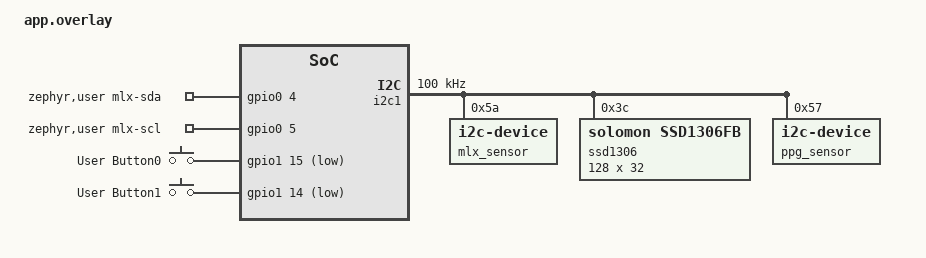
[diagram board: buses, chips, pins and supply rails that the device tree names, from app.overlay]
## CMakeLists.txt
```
cmake_minimum_required(VERSION 3.20.0)
find_package(Zephyr REQUIRED HINTS $ENV{ZEPHYR_BASE})

project(BodyTempSensorVer2)

file(GLOB_RECURSE APP_SOURCES src/*.c)

target_sources(app PRIVATE ${APP_SOURCES})

# drivers 以下のサブディレクトリを自動でインクルードパスに追加する
file(GLOB_RECURSE driver_headers "src/drivers/*.h")
foreach(header_file ${driver_headers})
    get_filename_component(header_dir ${header_file} DIRECTORY)
    target_include_directories(app PRIVATE ${header_dir})
endforeach()

# utils 以下のサブディレクトリを自動でインクルードパスに追加する
file(GLOB_RECURSE utils_headers "src/utils/*.h")
foreach(header_file ${utils_headers})
    get_filename_component(header_dir ${header_file} DIRECTORY)
    target_include_directories(app PRIVATE ${header_dir})
endforeach()

# handlers 以下のサブディレクトリを自動でインクルードパスに追加する
file(GLOB_RECURSE utils_headers "src/handlers/*.h")
foreach(header_file ${utils_headers})
    get_filename_component(header_dir ${header_file} DIRECTORY)
    target_include_directories(app PRIVATE ${header_dir})
endforeach()
```

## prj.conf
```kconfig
# パワーマネジメントを有効化
CONFIG_PM_DEVICE=y
CONFIG_POWEROFF=y
CONFIG_REBOOT=y

# I2C and GPIO
CONFIG_FLASH=y
CONFIG_I2C=y
CONFIG_GPIO=y
CONFIG_CRC=y

# QSPI設定
CONFIG_NORDIC_QSPI_NOR=y
CONFIG_NORDIC_QSPI_NOR_FLASH_LAYOUT_PAGE_SIZE=4096

# ディスプレイ関連
CONFIG_DISPLAY=y
CONFIG_SSD1306=y
CONFIG_CHARACTER_FRAMEBUFFER=y

# Sensor
CONFIG_SENSOR=y
CONFIG_LSM6DSL=y
CONFIG_REGULATOR=y
CONFIG_REGULATOR_FIXED=y
CONFIG_LSM6DSL_TRIGGER_GLOBAL_THREAD=y
CONFIG_LSM6DSL_ACCEL_ODR=1
CONFIG_LSM6DSL_GYRO_ODR=1

# Bluetooth設定
CONFIG_BT=y
CONFIG_BT_PERIPHERAL=y
CONFIG_BT_DEVICE_NAME="Hama_nRF52840_BLE"
# ペアリング情報（ボンディング）をFlashに保存するための設定
CONFIG_BT_SETTINGS=y
CONFIG_SETTINGS=y
CONFIG_FLASH=y
CONFIG_FLASH_MAP=y
CONFIG_NVS=y
# 固定パスキー機能を有効化
CONFIG_BT_FIXED_PASSKEY=y
CONFIG_BT_SMP=y
# CONFIG_BT_EXT_ADV_MAX_ADV_SET=2

# カスタムサービス用
CONFIG_SYSTEM_WORKQUEUE_STACK_SIZE=2048

# 1. ヒープメモリを確保（CFBがk_mallocを使えるようにする）
CONFIG_HEAP_MEM_POOL_SIZE=16384

CONFIG_BT_GAP_PERIPHERAL_PREF_PARAMS=y
CONFIG_BT_PERIPHERAL_PREF_MIN_INT=400
CONFIG_BT_PERIPHERAL_PREF_MAX_INT=400
CONFIG_BT_PERIPHERAL_PREF_LATENCY=4
CONFIG_BT_PERIPHERAL_PREF_TIMEOUT=600
CONFIG_BT_GAP_AUTO_UPDATE_CONN_PARAMS=y

##################################
##################################
##################################
# Release
##################################
CONFIG_SERIAL=n
CONFIG_LOG=n
CONFIG_CONSOLE=n
CONFIG_UART_CONSOLE=n
CONFIG_CBPRINTF_FP_SUPPORT=y

##################################
# Debug
##################################
# CONFIG_SERIAL=y
# CONFIG_CONSOLE=y
# CONFIG_UART_CONSOLE=y
# CONFIG_CBPRINTF_FP_SUPPORT=y
##################################
##################################


##################################
# USB CDC ACM 設定
##################################
# # 新しいUSBデバイススタックを有効化
# CONFIG_USB_DEVICE_INITIALIZE_AT_BOOT=y
# # CDC ACM (仮想シリアルポート) の設定
# CONFIG_UART_LINE_CTRL=y
# CONFIG_USB_DEVICE_STACK=y
# CONFIG_USB_CDC_ACM=y
# # リセット（再起動）機能を有効にする
# CONFIG_REBOOT=y
```

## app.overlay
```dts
&i2c1 {
	compatible = "nordic,nrf-twim";
	status = "okay";
	pinctrl-0 = <&i2c1_default>;
	pinctrl-1 = <&i2c1_sleep>;
	pinctrl-names = "default", "sleep";
	zephyr,concat-buf-size = <2048>;
	clock-frequency = <100000>;
	
	mlx_sensor: mlx90614@5a {
		status = "okay";
		compatible = "i2c-device";
		reg = <0x5a>;
	};
	
	ssd1306: ssd1306@3c {
		status = "okay";
		compatible = "solomon,ssd1306fb";
		reg = <0x3c>;
		width = <128>;
		height = <32>;
		segment-offset = <0>;
		page-offset = <0>;
		display-offset = <0>;
		multiplex-ratio = <31>;
		segment-remap;
		com-invdir;
		com-sequential;
		prechargep = <0x22>;
	};
	ppg_sensor: max30100_raw@57 {
		compatible = "i2c-device";
		reg = <0x57>;
	};
};

/ {
	zephyr,user {
		mlx-sda-gpios = <&gpio0 4 GPIO_ACTIVE_HIGH>;
		mlx-scl-gpios = <&gpio0 5 GPIO_ACTIVE_HIGH>;
	};
	buttons {
		compatible = "gpio-keys";
		my_button0: button_0 {
			gpios = <&gpio1 15 (GPIO_PULL_UP | GPIO_ACTIVE_LOW)>;
			label = "User Button0";
		};
		my_button1: button_1 {
			gpios = <&gpio1 14 (GPIO_PULL_UP | GPIO_ACTIVE_LOW)>;
			label = "User Button1";
		};
	};
};

/*
/ {
	i2c_sw: i2c-gpio-0 {
		compatible = "gpio-i2c";
		status = "okay";
		sda-gpios = <&gpio0 28 (GPIO_ACTIVE_HIGH | GPIO_PULL_UP | GPIO_OPEN_DRAIN)>;
		scl-gpios = <&gpio0 29 (GPIO_ACTIVE_HIGH | GPIO_PULL_UP | GPIO_OPEN_DRAIN)>;
		clock-frequency = <100000>;
		#address-cells = <1>;
		#size-cells = <0>;
		
		mlx_sensor: mlx90614@5a {
			compatible = "i2c-device";
			reg = <0x5a>;
			status = "okay";
		};
	};
	
	zephyr,user {
		mlx-sda-gpios = <&gpio0 2 GPIO_ACTIVE_HIGH>;
		mlx-scl-gpios = <&gpio0 3 GPIO_ACTIVE_HIGH>;
	};
};
*/

/*
&qspi {
	status = "disabled";
};
*/
```

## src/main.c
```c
#include "common.h"
#include "global.h"
#include "mlx90614.h"
#include "my_ble.h"
#include "my_button.h"
#include "my_display.h"
#include "my_handler.h"
#include "my_move_sensor.h"
#include "my_timer.h"

#include <zephyr/arch/cpu.h>
#include <zephyr/device.h>
#include <zephyr/drivers/flash.h>
#include <zephyr/drivers/i2c.h>
#include <zephyr/drivers/sensor.h>
#include <zephyr/kernel.h>
#include <zephyr/pm/device.h>
#include <zephyr/settings/settings.h>
#include <zephyr/storage/flash_map.h>

uint8_t is_ready_drivers(void)
{
    if (is_ready_mlx90614())
        return 1;
    if (is_ready_my_display())
        return 2;
    if (is_ready_my_button())
        return 3;
    if (is_ready_my_move_sensor())
        return 4;
    return 0;
}

const struct device *flash_dev = DEVICE_DT_GET(DT_NODELABEL(p25q16h));

void test_qspi_flash(void)
{

    if (!device_is_ready(flash_dev))
    {
        DEBUG_PRINT("QSPI Flash device not ready\n");
        return;
    }

    // データの書き込みテスト（アドレス0から）
    uint32_t data = 0x12345678;
    flash_erase(flash_dev, 0, 4096); // 1セクタ(4KB)消去
    flash_write(flash_dev, 0, &data, sizeof(data));

    DEBUG_PRINT("QSPI Flash write success!\n");
}

void read_qspi_data(void)
{
    // app.overlayで定義したノードラベルからデバイスを取得

    if (!device_is_ready(flash_dev))
    {
        DEBUG_PRINT("QSPI Flash device not ready\n");
        return;
    }

    uint8_t read_buf[64];    // 読み出し用バッファ
    off_t   offset = 0x0000; // 読み出し開始アドレス

    // フラッシュから64バイト読み出し
    int ret = flash_read(flash_dev, offset, read_buf, sizeof(read_buf));

    if (ret != 0)
    {
        DEBUG_PRINT("Flash read failed! (error %d)\n", ret);
        return;
    }

    // 読み出したデータを16進数で表示
    DEBUG_PRINT("Data at 0x%lx: ", (long)offset);
    for (int i = 0; i < sizeof(read_buf); i++)
    {
        DEBUG_PRINT("%02x ", read_buf[i]);
    }
    DEBUG_PRINT("\n");
}

void drivers_init()
{
    my_display_init();
    my_button_init();
    my_timer_init();
    my_ble_init();
    mlx90614_init();
    my_move_sensor_init();
    test_qspi_flash();
    read_qspi_data();
    pm_device_action_run(
        flash_dev, PM_DEVICE_ACTION_SUSPEND); // QSPIフラッシュをサスペンド
}
/* I2Cデバイスの取得 */
static const struct i2c_dt_spec dev_i2c =
    I2C_DT_SPEC_GET(DT_NODELABEL(ppg_sensor));

// レジスタアドレス
#define REG_MODE_CONFIG 0x06
#define REG_LED_CONFIG 0x09
#define REG_FIFO_DATA 0x05
#define REG_FIFO_WR_PTR 0x02
#define REG_FIFO_RD_PTR 0x04
#define REG_INT_STATUS 0x00
#define REG_SPO2_CONFIG 0x07 // これが重要
#define REG_PART_ID 0xFF

int main(void)
{
    uint8_t ret = 0;
    ret         = is_ready_drivers();
    if (ret != 0)
    {
        DEBUG_PRINT("Driver init failed with code %d\n", ret);
        while (1)
        {
            k_msleep(1000);
        }
    }
    drivers_init();

    if (!device_is_ready(dev_i2c.bus))
    {
        printk("I2C bus not ready\n");
        while (1)
        {
            k_msleep(1000);
        }
    }
    uint8_t val;

    i2c_reg_write_byte_dt(&dev_i2c, REG_MODE_CONFIG, 0x03);
    i2c_reg_write_byte_dt(&dev_i2c, REG_SPO2_CONFIG, 0x04);
    i2c_reg_write_byte_dt(&dev_i2c, REG_LED_CONFIG, 0b00010000);
    i2c_reg_read_byte_dt(&dev_i2c, REG_INT_STATUS, &val);
    i2c_reg_write_byte_dt(&dev_i2c, REG_MODE_CONFIG, 0x83);

    // uint8_t  buffer[4]; // Red(2bytes) + IR(2bytes)
    // uint32_t loop_count = 0;
    // while (1)
    // {
    //     /* 3. FIFOレジスタから4バイト読み出し */
    //     uint8_t reg = REG_FIFO_DATA;
    //     if (i2c_write_read_dt(&dev_i2c, &reg, 1, buffer, 4) == 0)
    //     {
    //         // MAX30100は上位8bitが先
    //         uint16_t red_raw = (buffer[0] << 8) | buffer[1];

    //         // シリアルプロッタ用に出力
    //         if (loop_count % 10 == 0)
    //             printk("%u\n", red_raw);
    //     }

    //     k_msleep(10); // 100Hz相当
    //     loop_count++;
    // }
    /////////////////////////////////////////////////////////////////////////////
    my_event      event;
    enum my_state state = STATE_WAIT;
    enqueue(EVT_STATE_CHANGE, NULL, 0); // 初期化イベントをキューに追加
    while (1)
    {
        if (is_queue_empty())
        {
            k_sem_take(&evt_sem, K_FOREVER);
        }
        else
        {
            event = dequeue(); // イベントキューからイベントを取得
            DEBUG_PRINT("Event dequeued: ID %d\n", event.id);
            event_handler handler = state_handler_table[state][event.id];
            if (handler != NULL)
            {
                state = handler(state, &event.payload);
            }
        }
        //
        //
        //
        //
        //
        //
        // mlx90614_exit_sleep();
        // float env = mlx90614_read_env_temp();
        // float obj = mlx90614_read_obj_temp();
        // mlx90614_enter_sleep(); // センサーをスリープへ
        // DEBUG_PRINT("Object Temp: %.2f C, Env Temp: %.2f C \n", obj, env);
        // my_display_clear(false);
        // char buf[64]; // 表示用のバッファ
        // snprintf(buf, sizeof(buf), "Obj: %.2f C", (double)obj);
        // my_display_print(buf, 0, 0);
        // snprintf(buf, sizeof(buf), "Env: %.2f C", (double)env);
        // my_display_print(buf, 0, 16);
        // my_display_finalize();
        // my_display_blanking_off();
        // k_msleep(500); // 0.5秒待機
        // my_display_blanking_on();
        // k_msleep(500); // 0.5秒待機
    }

    // k_msleep(3000); // 3秒待機
    // // BLEの消費電流を見たいので一回mlxを眠らせる
    // // mlx90614_enter_sleep(&i2c_mlx90614, &scl_gpio, &sda_gpio); //
    // センサーをスリープへ k_msleep(4000); // 3秒待機

    //////////////////////////////////////////////////////////////////////////////////////////////////////////////////
    //////////////////////////////////////////////////////////////////////////////////////////////////////////////////
    //////////////////////////////////////////////////////////////////////////////////////////////////////////////////
    //////////////////////////////////////////////////////////////////////////////////////////////////////////////////
    //////////////////////////////////////////////////////////////////////////////////////////////////////////////////
    //////////////////////////////////////////////////////////////////////////////////////////////////////////////////
    // // 2. Bluetoothの有効化
    // my_ble_init();
    // while (1)
    // {
    //     k_msleep(1000);
    //     if (should_restart_adv == 1)
    //     {
    //         should_restart_adv = 0;
    //         k_msleep(200);
    //         start_advertising();
    //     }
    //     temp_value++;

    //     my_ble_notify();
    // }

    return 0;
}
```
